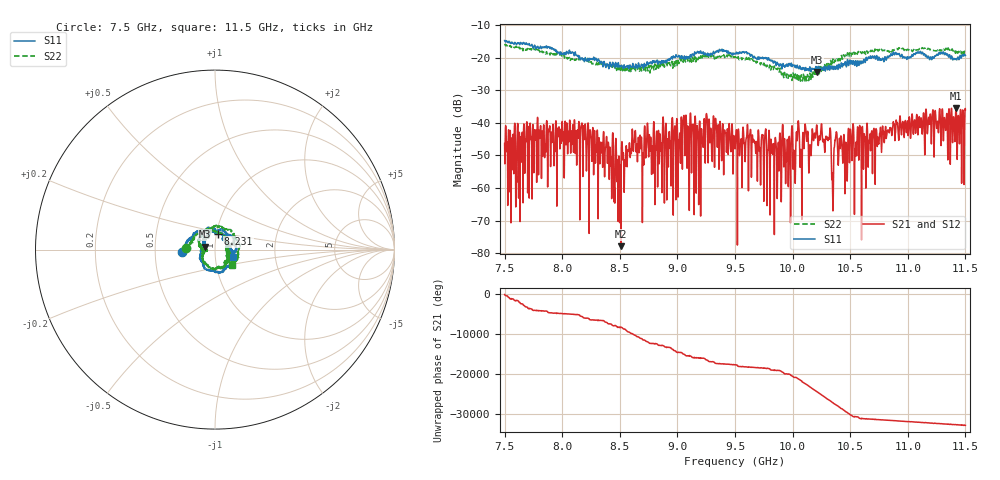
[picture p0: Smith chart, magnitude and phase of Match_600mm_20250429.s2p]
#  HZ  S  DB  R  50.00
! Rohde & Schwarz ZVA40 2Ports - Version 4.11 - 1145.1110k40 SN: 100216
! Date: 2025-04-29 18:22:17
! Measurements: S11 S21 S12 S22
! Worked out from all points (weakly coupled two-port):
!   5001 points, 7.5 GHz to 11.5 GHz, reference 50 ohm
!   highest |S21| = -35.57 dB at 11.42 GHz (marker M1); lowest = -77.8 dB at 8.509 GHz (marker M2)
!   lowest |S11| = -24.4 dB at 10.21 GHz (marker M3), VSWR 1.13, Z = 44.5 + j1.53 ohm
!   |S11| at or under -10 dB: start of sweep to end of sweep
!   |S22| runs from -27.4 to -15.8 dB; largest |S21 - S12| = 0.00013
!   S11 on the Smith chart (normalised r, x): 7.5 GHz: 0.69, -0.02; 8.231 GHz: 1.02, +0.18; 11.5 GHz: 1.22, -0.10
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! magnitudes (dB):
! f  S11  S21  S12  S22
! 7.5 GHz  -14.8  -46.4  -46.4  -15.8
! 7.615 GHz  -15.5  -40.6  -40.6  -16.8
! 7.707 GHz  -16.0  -41.1  -41.2  -17.8
! 8.167 GHz  -20.3  -40.7  -40.6  -20.6
! 8.231 GHz  -21.0  -48.3  -48.3  -21.1
! 8.491 GHz  -22.3  -50.3  -50.3  -23.7
! 8.509 GHz  -22.6  -77.8  -77.1  -23.8
! 8.621 GHz  -22.7  -46.9  -46.9  -23.7
! 8.834 GHz  -21.9  -43.4  -43.4  -23.7
! 9.067 GHz  -20.4  -48.5  -48.5  -21.0
! 9.203 GHz  -18.1  -52.7  -52.7  -19.4
! 9.265 GHz  -18.8  -47.7  -47.8  -19.5
! 9.5 GHz  -18.9  -48.0  -48.0  -19.8
! 9.884 GHz  -22.6  -49.8  -49.8  -24.4
! 10.17 GHz  -23.3  -43.5  -43.5  -24.4
! 10.21 GHz  -24.4  -42.4  -42.4  -24.9
! 10.31 GHz  -22.5  -44.6  -44.5  -21.5
! 10.35 GHz  -23.0  -64.1  -64.6  -20.7
! 10.38 GHz  -23.6  -43.6  -43.6  -21.2
! 10.83 GHz  -19.7  -42.6  -42.6  -18.2
! 11.42 GHz  -20.3  -35.6  -35.5  -18.0
! 11.5 GHz  -19.4  -36.0  -36.0  -18.0
